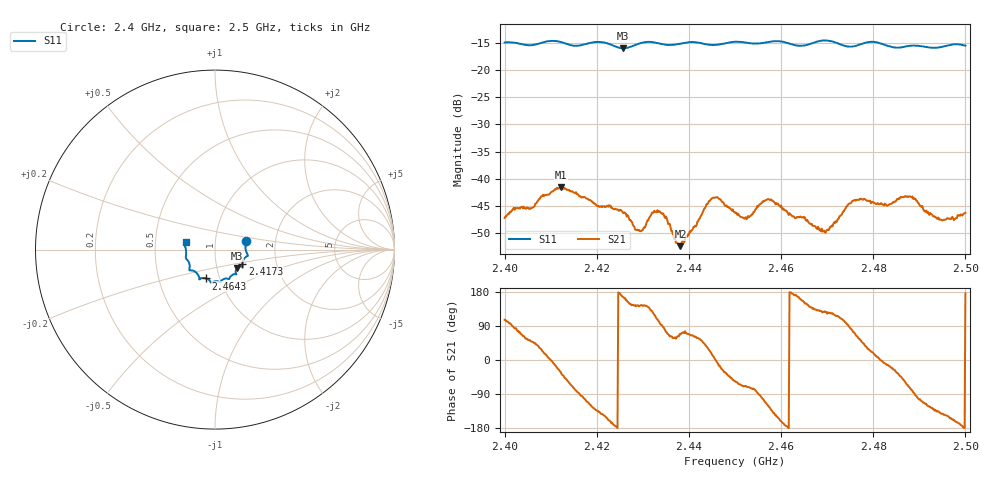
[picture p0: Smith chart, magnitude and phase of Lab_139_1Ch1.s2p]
# Hz S RI R 50
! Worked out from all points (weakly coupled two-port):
!   601 points, 2.4 GHz to 2.5 GHz, reference 50 ohm
!   highest |S21| = -41.63 dB at 2.4122 GHz (marker M1); lowest = -52.5 dB at 2.4382 GHz (marker M2)
!   lowest |S11| = -15.9 dB at 2.4257 GHz (marker M3), VSWR 1.38, Z = 62.4 - j13.1 ohm
!   |S11| at or under -10 dB: start of sweep to end of sweep
!   S12 and S22 are empty: the file has one direction only
!   S11 on the Smith chart (normalised r, x): 2.4 GHz: 1.41, +0.15; 2.4173 GHz: 1.34, -0.23; 2.4643 GHz: 0.86, -0.28; 2.5 GHz: 0.72, +0.06
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2.4e9  0.1734 0.0497  -0.00122 0.00416  0 0  0 0
2.412167e9  0.1789 -0.0368  0.00707 -0.00434  0 0  0 0
2.416667e9  0.1529 -0.0746  -0.000592 -0.00668  0 0  0 0
2.417333e9  0.1524 -0.0822  -0.00148 -0.00662  0 0  0 0
2.425667e9  0.1225 -0.1024  -0.00472 0.0011  0 0  0 0
2.4295e9  0.1171 -0.1342  -0.00266 0.00191  0 0  0 0
2.433333e9  0.1127 -0.1368  -0.00122 0.00476  0 0  0 0
2.434833e9  0.1028 -0.1379  0.000857 0.00425  0 0  0 0
2.437333e9  0.0855 -0.1508  0.0013 0.0022  0 0  0 0
2.438167e9  0.0825 -0.1556  0.000909 0.0022  0 0  0 0
2.445167e9  0.054 -0.1623  0.00654 0.0013  0 0  0 0
2.45e9  0.0295 -0.1808  0.00276 -0.00405  0 0  0 0
2.4525e9  0.0205 -0.1784  0.00143 -0.00397  0 0  0 0
2.457333e9  -0.0152 -0.1819  -0.00354 -0.00541  0 0  0 0
2.464333e9  -0.0503 -0.1606  -0.00413 0.00154  0 0  0 0
2.466667e9  -0.0763 -0.1599  -0.00283 0.00257  0 0  0 0
2.47e9  -0.0877 -0.1662  -0.0018 0.00286  0 0  0 0
2.476e9  -0.1164 -0.1196  0.00212 0.00601  0 0  0 0
2.483333e9  -0.1411 -0.0894  0.00553 -0.00145  0 0  0 0
2.488e9  -0.1606 -0.0507  0.00184 -0.00661  0 0  0 0
2.494833e9  -0.1638 0.00825  -0.00326 -0.00254  0 0  0 0
2.5e9  -0.1635 0.0422  -0.00483 0.00035  0 0  0 0
